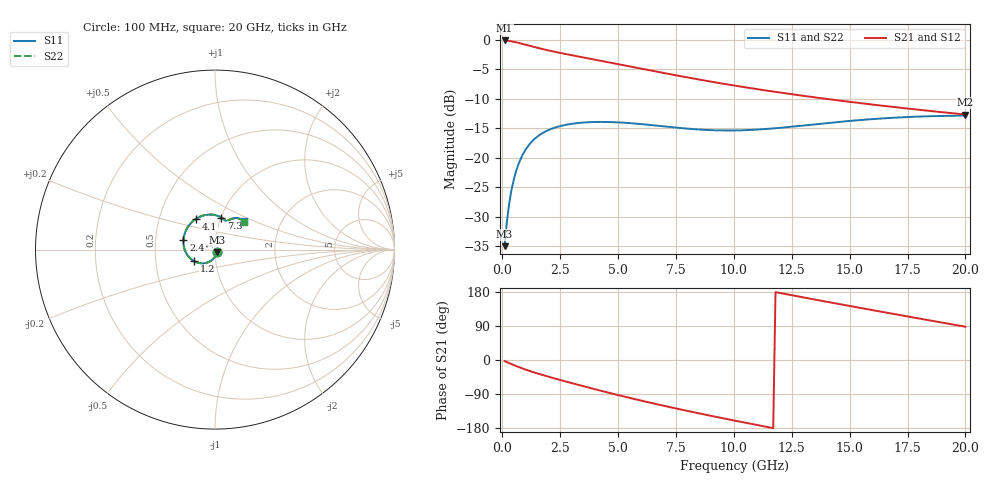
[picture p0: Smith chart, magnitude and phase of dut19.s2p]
! Touchstone file exported from HFSS 2023.1.0
!  File:  D:/Users/fzz/RDL_TSV/temp_RDL_TSV_19_1778743419.aedt
!  Generated:  3:30:29 %x4E0B%x5348  5%x6708 14, 2026
!  Design:  RDL_TSV
!  Project:  temp_RDL_TSV_19_1778743419
!  Setup:  Setup1
!  Solution:  Sweep
! Variables:
!  dtsv = 22.77um
!  hbump = 3um
!  htsv = 92.83um
!  ldown = 692.29um
!  lrdl = 302.28um
!  p = 40
!  p1 = 54.37um
!  rhole = 10um
!  subl = 3285.99um
!  t = 450um
!  tdown = 4.72um
!  trdl = 3.64um
!  viad = 10um
!  wdown = 21.59um
!  wrdl = 28.73um
!  xbump = 18um
# GHz S MA R 50.000000
! Terminal data exported
! Port[1] = TM1_1_T1
! Port[2] = TM1_4_T1
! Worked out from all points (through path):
!   200 points, 100 MHz to 20 GHz, reference 50 ohm
!   highest |S21| = -0.12 dB at 100 MHz (marker M1); lowest = -12.7 dB at 20 GHz (marker M2)
!   group delay of S21, straight-line fit = 35.8 ps
!   lowest |S11| = -35.0 dB at 100 MHz (marker M3), VSWR 1.04, Z = 51 - j1.46 ohm
!   |S11| at or under -10 dB: start of sweep to end of sweep
!   |S22| runs from -35.0 to -12.9 dB; largest |S21 - S12| = 2e-14
!   S11 on the Smith chart (normalised r, x): 100 MHz: 1.02, -0.03; 1.2 GHz: 0.79, -0.10; 2.4 GHz: 0.70, +0.07; 4.1 GHz: 0.77, +0.28; 7.3 GHz: 1.00, +0.37; 20 GHz: 1.31, +0.44
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0.1  0.01782 -53.5  0.9868 -2.8  0.9868 -2.8  0.01782 -53.5
! Gamma 0 0 0 0
! Port Impedance 50 0 50 0
0.2  0.0289 -78.3  0.9828 -5.6  0.9828 -5.6  0.02891 -78.3
0.3  0.04129 -92.0  0.9768 -8.3  0.9768 -8.3  0.04131 -92.0
0.4  0.05376 -101.7  0.9695 -11.0  0.9695 -11.0  0.05377 -101.7
0.5  0.06585 -109.8  0.9609 -13.5  0.9609 -13.5  0.06587 -109.8
0.8  0.09842 -129.3  0.9309 -20.7  0.9309 -20.7  0.09847 -129.3
1.2  0.132 -150.3  0.8875 -29.3  0.8875 -29.3  0.1321 -150.3
1.7  0.1603 -172.0  0.8378 -38.8  0.8378 -38.8  0.1604 -172.0
2.4  0.1833 163.6  0.7809 -51.0  0.7809 -51.0  0.1836 163.5
3.5  0.1989 133.9  0.7085 -69.2  0.7085 -69.2  0.1993 133.8
4.1  0.2012 120.9  0.6728 -78.7  0.6728 -78.7  0.2018 120.8
5.5  0.1967 97.4  0.5951 -100.0  0.5951 -100.0  0.1974 97.2
6.8  0.1861 82.8  0.5308 -118.4  0.5308 -118.4  0.1869 82.5
7.3  0.1818 78.9  0.5084 -125.2  0.5084 -125.2  0.1826 78.5
8.6  0.1731 72.0  0.4565 -142.1  0.4565 -142.1  0.1737 71.6
10.1  0.1705 68.3  0.4069 -160.7  0.4069 -160.7  0.1708 67.8
11.6  0.1766 66.2  0.3664 -178.6  0.3664 -178.6  0.1765 65.6
13.4  0.1911 62.9  0.3269 160.6  0.3269 160.6  0.1905 62.4
15  0.2052 58.8  0.2979 142.5  0.2979 142.5  0.2043 58.3
16.7  0.2173 53.6  0.272 123.7  0.272 123.7  0.2163 53.2
18.3  0.2245 48.7  0.2514 106.2  0.2514 106.2  0.2234 48.3
20  0.2275 43.9  0.2326 87.8  0.2326 87.8  0.2264 43.5
